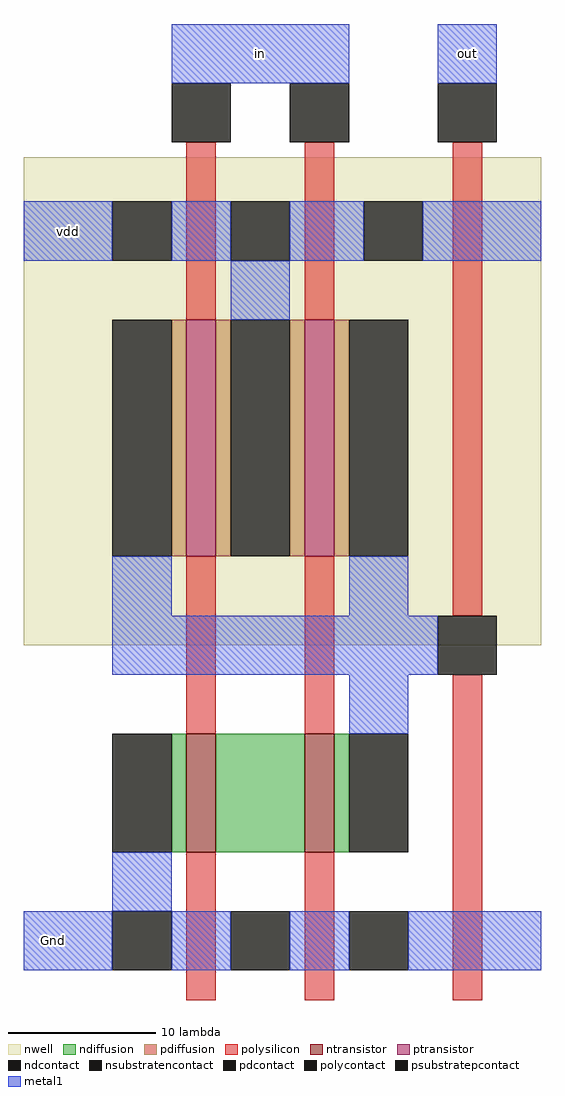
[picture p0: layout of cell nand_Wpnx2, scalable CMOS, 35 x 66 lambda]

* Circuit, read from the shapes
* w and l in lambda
.subckt nand_Wpnx2 Gnd in out vdd
M1 n1 in Gnd Gnd nfet w=8 l=2
M2 out in n1 Gnd nfet w=8 l=2
M3 vdd in out vdd pfet w=16 l=2 m=2
.ends

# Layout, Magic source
magic
tech scmos
<< nwell >>
rect -14 1 21 34
<< ntransistor >>
rect -3 -13 -1 -5
rect 5 -13 7 -5
<< ptransistor >>
rect -3 7 -1 23
rect 5 7 7 23
<< ndiffusion >>
rect -4 -13 -3 -5
rect -1 -13 5 -5
rect 7 -13 8 -5
<< pdiffusion >>
rect -4 7 -3 23
rect -1 7 0 23
rect 4 7 5 23
rect 7 7 8 23
<< ndcontact >>
rect -8 -13 -4 -5
rect 8 -13 12 -5
<< pdcontact >>
rect -8 7 -4 23
rect 0 7 4 23
rect 8 7 12 23
<< psubstratepcontact >>
rect -8 -21 -4 -17
rect 0 -21 4 -17
rect 8 -21 12 -17
<< nsubstratencontact >>
rect -8 27 -4 31
rect 0 27 4 31
rect 9 27 13 31
<< polysilicon >>
rect -3 23 -1 35
rect 5 23 7 35
rect -3 -5 -1 7
rect 5 -5 7 7
rect 15 3 17 35
rect -3 -23 -1 -13
rect 5 -23 7 -13
rect 15 -23 17 -1
<< polycontact >>
rect -4 35 0 39
rect 4 35 8 39
rect 14 35 18 39
rect 14 -1 18 3
<< metal1 >>
rect -4 39 8 43
rect 14 39 18 43
rect -14 27 -8 31
rect -4 27 0 31
rect 4 27 9 31
rect 13 27 21 31
rect 0 23 4 27
rect -8 3 -4 7
rect 8 3 12 7
rect -8 -1 14 3
rect 8 -5 12 -1
rect -8 -17 -4 -13
rect -14 -21 -8 -17
rect -4 -21 0 -17
rect 4 -21 8 -17
rect 12 -21 21 -17
<< labels >>
rlabel metal1 -14 -21 -10 -17 2 Gnd
rlabel metal1 0 39 4 43 5 in
rlabel metal1 14 39 18 43 6 out
rlabel metal1 -13 27 -9 31 3 vdd
<< end >>
